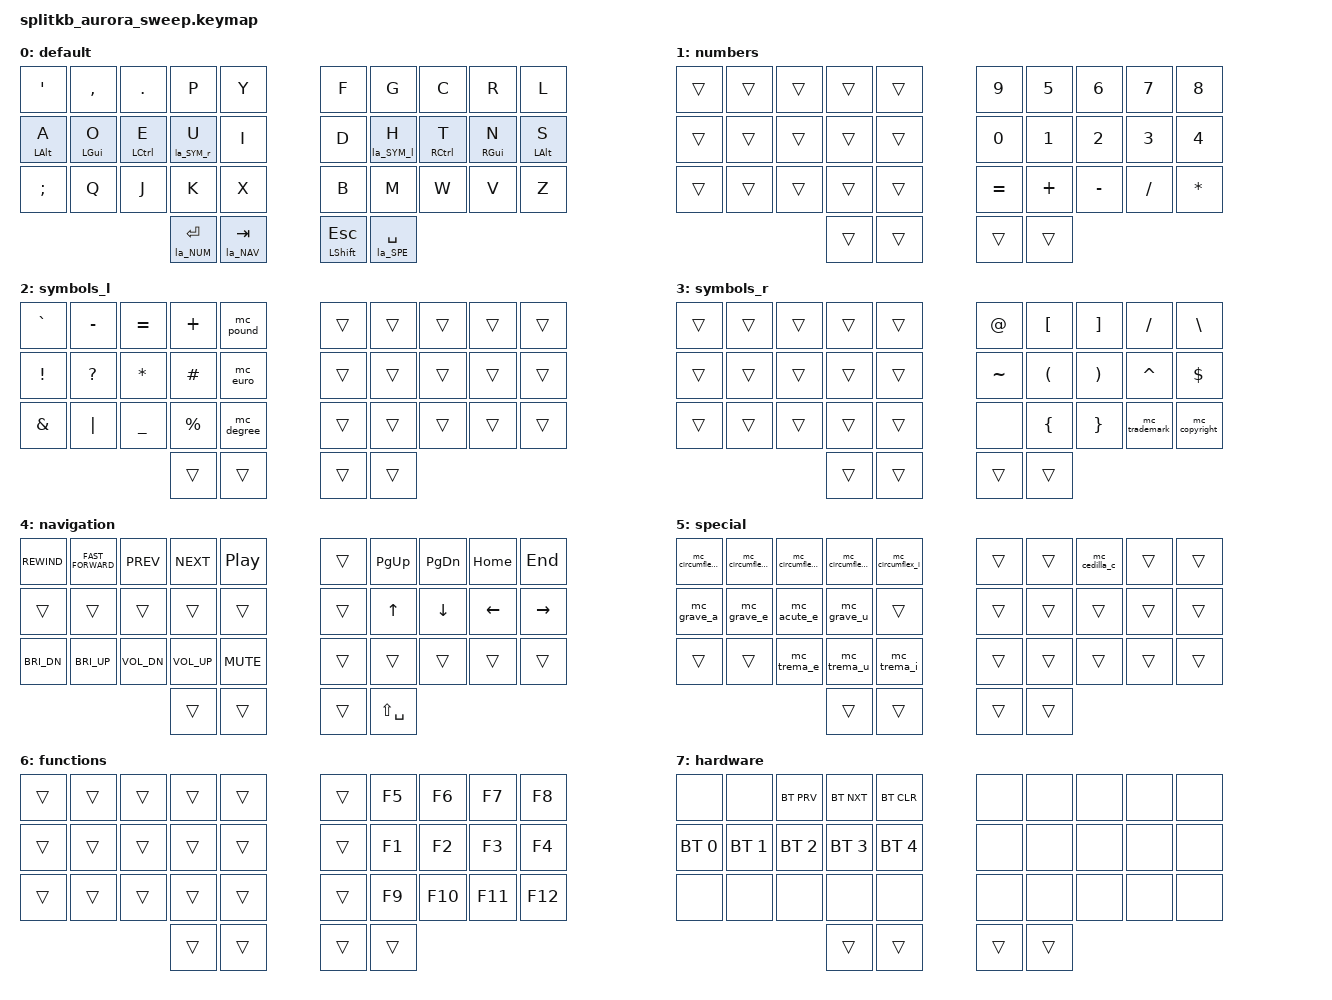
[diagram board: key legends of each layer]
#include <behaviors.dtsi>
#include <dt-bindings/zmk/keys.h>
#include <dt-bindings/zmk/bt.h>

#define la_DEF 0
#define la_NUM 1
#define la_SYM_l 2
#define la_SYM_r 3
#define la_NAV 4
#define la_SPE 5
#define la_FUN 6
#define la_HAR 7
// #define la_LMOD 4
// #define la_RMOD 5

#define po_T0 30
#define po_T1 31
#define po_T2 32
#define po_T3 33

#define po_LC 13
#define po_LS 12
#define po_LG 11
#define po_LA 10

#define po_RC 16
#define po_RS 17
#define po_RG 18
#define po_RA 19

#define po_RIGHT 5 6 7 8 9 15 16 17 18 19 25 26 27 28 29 30 31 32 33
#define po_LEFT 0 1 2 3 4 10 11 12 13 14 20 21 22 23 24 30 31 32 33

#define HM(NAME, HOLD, TAP, TRIGGER_POS) \
NAME: NAME { \
  label = #NAME; \
  compatible = "zmk,behavior-hold-tap"; \
  #binding-cells = <2>; \
  tapping-term-ms = <270>; \
  quick-tap-ms = <170>; \
  global-quick-tap; \
  flavor = "balanced"; \
  bindings = <HOLD>, <TAP>; \
  hold-trigger-key-positions = <TRIGGER_POS>; \
  hold-trigger-on-release; \
};

#define HMM(NAME, HOLD, TAP, TRIGGER_POS) \
NAME: NAME { \
  label = #NAME; \
  compatible = "zmk,behavior-hold-tap"; \
  #binding-cells = <2>; \
  tapping-term-ms = <270>; \
  quick-tap-ms = <170>; \
  global-quick-tap; \
  flavor = "balanced"; \
  bindings = <HOLD>, <TAP>; \
};

// hold-tap behavior that take two macros, one activated on hold, one activated on tap
#define HOLDTAP_MACRO(NAME, MACRO_HOLD, MACRO_TAP) \
NAME: NAME { \
  label = #NAME; \
  compatible = "zmk,behavior-hold-tap"; \
  #binding-cells = <2>; \
  flavor = "tap-preferred"; \
  tapping-term-ms = <200>; \
  bindings = <MACRO_HOLD>, <MACRO_TAP>; \
};

// macro behavior that take multiple keys which are activated when the macro is hold
#define MACRO_HOLD(NAME, BINDINGS) \
NAME: NAME { \
  label = #NAME; \
  compatible = "zmk,behavior-macro"; \
  #binding-cells = <0>; \
  wait-ms = <0>; \
  tap-ms = <0>; \
  bindings = <&macro_press BINDINGS>, <&macro_pause_for_release> , <&macro_release BINDINGS>; \
};

// macro behavior that take multiple keys which are activated when the macro is tap
#define MACRO_TAP(NAME, BINDINGS) \
NAME: NAME { \
  label = #NAME; \
  compatible = "zmk,behavior-macro"; \
  #binding-cells = <0>; \
  wait-ms = <0>; \
  tap-ms = <0>; \
  bindings = <BINDINGS>; \
};

// sticky key behavior that take a macro as bindings
#define SKQ_MACRO(NAME, MACRO) \
NAME: NAME { \
  compatible = "zmk,behavior-sticky-key"; \
  label = #NAME; \
  #binding-cells = <1>; \
  bindings = <MACRO>; \
  release-after-ms = <200>; \
  quick-release; \
  ignore-modifiers; \
};

// combo behavior that take a hold-tap as bindings
#define COMBO_HOLDTAP(NAME, TIMEOUT, POSITION, HOLDTAP) \
NAME { \
  layers = <la_DEF>; \
  timeout-ms = <TIMEOUT>; \
  slow-release; \
  key-positions = <POSITION>; \
  bindings = <&HOLDTAP 0 0>; \
};

#define COMBO(NAME, TIMEOUT, POSITION, BINDINGS) \
NAME { \
  layers = <la_DEF>; \
  timeout-ms = <TIMEOUT>; \
  slow-release; \
  key-positions = <POSITION>; \
  bindings = BINDINGS; \
};

#define TAPDANCE(NAME, TAP_1, TAP_2) \
NAME: NAME { \
  compatible = "zmk,behavior-tap-dance"; \
  label = #NAME; \
  #binding-cells = <0>; \
  tapping-term-ms = <200>; \
  bindings = <TAP_1>, <TAP_2>; \
};

#define TAPDANCE_3(NAME, TAP_1, TAP_2, TAP_3) \
NAME: NAME { \
  compatible = "zmk,behavior-tap-dance"; \
  label = #NAME; \
  #binding-cells = <0>; \
  tapping-term-ms = <200>; \
  bindings = <TAP_1>, <TAP_2>, <TAP_3>; \
};

// #define COMBO_MOD(MOD) \
// COMBO(cb_R##MOD##_SQT,   50, po_T2 po_R##MOD 0,  <&kp R##MOD(SQT)>)   \
// COMBO(cb_R##MOD##_COMMA, 50, po_T2 po_R##MOD 1,  <&kp R##MOD(COMMA)>) \
// COMBO(cb_R##MOD##_DOT,   50, po_T2 po_R##MOD 2,  <&kp R##MOD(DOT)>)   \
// COMBO(cb_R##MOD##_P,     50, po_T2 po_R##MOD 3,  <&kp R##MOD(P)>)     \
// COMBO(cb_R##MOD##_Y,     50, po_T2 po_R##MOD 4,  <&kp R##MOD(Y)>)     \
// \
// COMBO(cb_L##MOD##_F,     50, po_T1 po_L##MOD 5,  <&kp L##MOD(F)>)     \
// COMBO(cb_L##MOD##_G,     50, po_T1 po_L##MOD 6,  <&kp L##MOD(G)>)     \
// COMBO(cb_L##MOD##_C,     50, po_T1 po_L##MOD 7,  <&kp L##MOD(C)>)     \
// COMBO(cb_L##MOD##_R,     50, po_T1 po_L##MOD 8,  <&kp L##MOD(R)>)     \
// COMBO(cb_L##MOD##_L,     50, po_T1 po_L##MOD 9,  <&kp L##MOD(L)>)     \
// \
// COMBO(cb_R##MOD##_A,     50, po_T2 po_R##MOD 10, <&kp R##MOD(A)>)     \
// COMBO(cb_R##MOD##_O,     50, po_T2 po_R##MOD 11, <&kp R##MOD(O)>)     \
// COMBO(cb_R##MOD##_E,     50, po_T2 po_R##MOD 12, <&kp R##MOD(E)>)     \
// COMBO(cb_R##MOD##_U,     50, po_T2 po_R##MOD 13, <&kp R##MOD(U)>)     \
// COMBO(cb_R##MOD##_I,     50, po_T2 po_R##MOD 14, <&kp R##MOD(I)>)     \
// \
// COMBO(cb_L##MOD##_D,     50, po_T1 po_L##MOD 15, <&kp L##MOD(D)>)     \
// COMBO(cb_L##MOD##_H,     50, po_T1 po_L##MOD 16, <&kp L##MOD(H)>)     \
// COMBO(cb_L##MOD##_T,     50, po_T1 po_L##MOD 17, <&kp L##MOD(T)>)     \
// COMBO(cb_L##MOD##_N,     50, po_T1 po_L##MOD 18, <&kp L##MOD(N)>)     \
// COMBO(cb_L##MOD##_S,     50, po_T1 po_L##MOD 19, <&kp L##MOD(S)>)     \
// \
// COMBO(cb_R##MOD##_SEMI,  50, po_T2 po_R##MOD 20, <&kp R##MOD(SEMI)>)  \
// COMBO(cb_R##MOD##_Q,     50, po_T2 po_R##MOD 21, <&kp R##MOD(Q)>)     \
// COMBO(cb_R##MOD##_J,     50, po_T2 po_R##MOD 22, <&kp R##MOD(J)>)     \
// COMBO(cb_R##MOD##_K,     50, po_T2 po_R##MOD 23, <&kp R##MOD(K)>)     \
// COMBO(cb_R##MOD##_X,     50, po_T2 po_R##MOD 24, <&kp R##MOD(X)>)     \
// \
// COMBO(cb_L##MOD##_B,     50, po_T1 po_L##MOD 25, <&kp L##MOD(B)>)     \
// COMBO(cb_L##MOD##_M,     50, po_T1 po_L##MOD 26, <&kp L##MOD(M)>)     \
// COMBO(cb_L##MOD##_W,     50, po_T1 po_L##MOD 27, <&kp L##MOD(W)>)     \
// COMBO(cb_L##MOD##_V,     50, po_T1 po_L##MOD 28, <&kp L##MOD(V)>)     \
// COMBO(cb_L##MOD##_Z,     50, po_T1 po_L##MOD 29, <&kp L##MOD(Z)>)

/ {

  behaviors {
    HMM(hm_mod_l, &kp, &kp, po_RIGHT)
    HMM(hm_mod_r, &kp, &kp, po_LEFT)
    HM(hm_mo_r, &mo, &kp, po_LEFT)
    HM(hm_mo_l, &mo, &kp, po_RIGHT)

    ht_mo: hold_tap_momentary_layer {
      compatible = "zmk,behavior-hold-tap";
      label = "ht_mo";
      #binding-cells = <2>;
      flavor = "hold-preferred";
      tapping-term-ms = <200>;
      bindings = <&mo>, <&kp>;
    };

    ht_mod: hold_tap_modifier {
      compatible = "zmk,behavior-hold-tap";
      label = "ht_mod";
      #binding-cells = <2>;
      flavor = "hold-preferred";
      tapping-term-ms = <200>;
      bindings = <&kp>, <&kp>;
    };

    // &ht_mo_sk la_NAV RSFT
    ht_mo_sk: hold_tap_momentary_layer_sticky_modifier {
      compatible = "zmk,behavior-hold-tap";
      label = "ht_mo_sk";
      #binding-cells = <2>;
      flavor = "hold-preferred";
      tapping-term-ms = <200>;
      bindings = <&mo>, <&skq>;
    };

    // sticky key behavior with quick-release option that deactivate the sticky key on the next key being pressed
    skq: sk_quick_release {
      compatible = "zmk,behavior-sticky-key";
      label = "sk_quick_release";
      #binding-cells = <1>;
      bindings = <&kp>;
      release-after-ms = <200>;
      quick-release;
      /delete-property/ ignore-modifiers;
     };

    // sticky key behavior with ignore-modifiers option for use with multiple modifiers like LC(LSHFT)
    skqx: skq_multiple_modifiers {
      compatible = "zmk,behavior-sticky-key";
      label = "skq_multiple_modifiers";
      #binding-cells = <1>;
      bindings = <&kp>;
      release-after-ms = <200>;
      quick-release;
      ignore-modifiers;
     };

    // // SKQ_MACRO(NAME, MACRO)

    // SKQ_MACRO(skqm_tap_num_LC, &mc_hold_num_LC)
    // SKQ_MACRO(skqm_tap_num_LS, &mc_hold_num_LS)
    // SKQ_MACRO(skqm_tap_num_LG, &mc_hold_num_LG)
    // SKQ_MACRO(skqm_tap_num_LA, &mc_hold_num_LA)

    // // TAPDANCE(NAME, TAP_1, TAP_2)

    // TAPDANCE(td_special_a,   &mc_grave_a,      &mc_circumflex_a)
    // TAPDANCE(td_special_i,   &mc_circumflex_i, &mc_trema_i)
    // TAPDANCE(td_special_e,      &mc_circumflex_e, &mc_trema_e)
    // TAPDANCE_3(td_special_u, &mc_circumflex_u, &mc_trema_u)

    // // HOLDTAP_MACRO(NAME, MACRO_HOLD, MACRO_TAP)

    // HOLDTAP_MACRO(ht_LC,     &mc_hold_LC,     &mc_tap_LC)
    // HOLDTAP_MACRO(ht_LCS,    &mc_hold_LCS,    &mc_tap_LCS)
    // HOLDTAP_MACRO(ht_RC,     &mc_hold_RC,     &mc_tap_RC)
    // HOLDTAP_MACRO(ht_RCS,    &mc_hold_RCS,    &mc_tap_RCS)
    // HOLDTAP_MACRO(ht_LG,     &mc_hold_LG,     &mc_tap_LG)
    // HOLDTAP_MACRO(ht_LGS,    &mc_hold_LGS,    &mc_tap_LGS)
    // HOLDTAP_MACRO(ht_RG,     &mc_hold_RG,     &mc_tap_RG)
    // HOLDTAP_MACRO(ht_RGS,    &mc_hold_RGS,    &mc_tap_RGS)
    // HOLDTAP_MACRO(ht_LA,     &mc_hold_LA,     &mc_tap_LA)
    // HOLDTAP_MACRO(ht_LAS,    &mc_hold_LAS,    &mc_tap_LAS)
    // HOLDTAP_MACRO(ht_RA,     &mc_hold_RA,     &mc_tap_RA)
    // HOLDTAP_MACRO(ht_RAS,    &mc_hold_RAS,    &mc_tap_RAS)
    // HOLDTAP_MACRO(ht_LS,     &mc_hold_LS,     &mc_tap_LS)
    // HOLDTAP_MACRO(ht_RS,     &mc_hold_RS,     &mc_tap_RS)

    // HOLDTAP_MACRO(ht_num_LC, &mc_hold_num_LC, &mc_tap_num_LC)
    // HOLDTAP_MACRO(ht_num_LS, &mc_hold_num_LS, &mc_tap_num_LS)
    // HOLDTAP_MACRO(ht_num_LG, &mc_hold_num_LG, &mc_tap_num_LG)
    // HOLDTAP_MACRO(ht_num_LA, &mc_hold_num_LA, &mc_tap_num_LA)
  };

  macros {
    // // MACRO_HOLD(NAME, BINDINGS)

    // MACRO_HOLD(mc_hold_LC,     &mo la_LMOD &kp LCTRL)
    // MACRO_HOLD(mc_hold_LCS,    &mo la_LMOD &kp LC(LSHFT))
    // MACRO_HOLD(mc_hold_RC,     &mo la_RMOD &kp RCTRL)
    // MACRO_HOLD(mc_hold_RCS,    &mo la_RMOD &kp RC(RSHFT))
    // MACRO_HOLD(mc_hold_LG,     &mo la_LMOD &kp LGUI)
    // MACRO_HOLD(mc_hold_LGS,    &mo la_LMOD &kp LG(LSHFT))
    // MACRO_HOLD(mc_hold_RG,     &mo la_RMOD &kp RGUI)
    // MACRO_HOLD(mc_hold_RGS,    &mo la_RMOD &kp RG(RSHFT))
    // MACRO_HOLD(mc_hold_LA,     &mo la_LMOD &kp LALT)
    // MACRO_HOLD(mc_hold_LAS,    &mo la_LMOD &kp LA(LSHFT))
    // MACRO_HOLD(mc_hold_RA,     &mo la_RMOD &kp LALT)
    // MACRO_HOLD(mc_hold_RAS,    &mo la_RMOD &kp LA(RSHFT))
    // MACRO_HOLD(mc_hold_LS,     &mo la_LMOD &kp LSHFT)
    // MACRO_HOLD(mc_hold_RS,     &mo la_RMOD &kp RSHFT)

    // MACRO_HOLD(mc_hold_num_LC, &mo la_NUM  &kp LCTRL)
    // MACRO_HOLD(mc_hold_num_LS, &mo la_NUM  &kp LSHFT)
    // MACRO_HOLD(mc_hold_num_LG, &mo la_NUM  &kp LGUI)
    // MACRO_HOLD(mc_hold_num_LA, &mo la_NUM  &kp LALT)

    // // MACRO_TAP(NAME, BINDINGS)

    // MACRO_TAP(mc_tap_LC,  &skq  LCTRL)
    // MACRO_TAP(mc_tap_LCS, &skqx LC(LSHFT))
    // MACRO_TAP(mc_tap_RC,  &skq  RCTRL)
    // MACRO_TAP(mc_tap_RCS, &skqx RC(RSHFT))
    // MACRO_TAP(mc_tap_LG,  &skq  LGUI)
    // MACRO_TAP(mc_tap_LGS, &skqx LG(LSHFT))
    // MACRO_TAP(mc_tap_RG,  &skq  RGUI)
    // MACRO_TAP(mc_tap_RGS, &skqx RG(RSHFT))
    // MACRO_TAP(mc_tap_LA,  &skq  LALT)
    // MACRO_TAP(mc_tap_LAS, &skqx LA(LSHFT))
    // MACRO_TAP(mc_tap_RA,  &skq  LALT)
    // MACRO_TAP(mc_tap_RAS, &skqx LA(RSHFT))
    // MACRO_TAP(mc_tap_LS,  &skq  LSHFT)
    // MACRO_TAP(mc_tap_RS,  &skq  RSHFT)

    // // can't use two sticky keys like sk and sl in a macro because they are indexed by key position
    // // https://github.com/zmkfirmware/zmk/issues/1421
    // // the workaround is to create a custom sticky key behavior with a hold macro as binding
    // MACRO_TAP(mc_tap_num_LC, &skqm_tap_num_LC 0)
    // MACRO_TAP(mc_tap_num_LS, &skqm_tap_num_LS 0)
    // MACRO_TAP(mc_tap_num_LG, &skqm_tap_num_LG 0)
    // MACRO_TAP(mc_tap_num_LA, &skqm_tap_num_LA 0)

    MACRO_TAP(mc_grave_a,      &kp RA(GRAVE)    &kp A)
    MACRO_TAP(mc_grave_e,      &kp RA(GRAVE)    &kp E)
    MACRO_TAP(mc_grave_u,      &kp RA(GRAVE)    &kp U)
    MACRO_TAP(mc_circumflex_a, &kp RA(NUMBER_6) &kp A)
    MACRO_TAP(mc_circumflex_o, &kp RA(NUMBER_6) &kp O)
    MACRO_TAP(mc_circumflex_e, &kp RA(NUMBER_6) &kp E)
    MACRO_TAP(mc_circumflex_u, &kp RA(NUMBER_6) &kp U)
    MACRO_TAP(mc_circumflex_i, &kp RA(NUMBER_6) &kp I)
    MACRO_TAP(mc_trema_e,      &kp RA(RS(SQT))  &kp E)
    MACRO_TAP(mc_trema_u,      &kp RA(RS(SQT))  &kp U)
    MACRO_TAP(mc_trema_i,      &kp RA(RS(SQT))  &kp I)
    MACRO_TAP(mc_acute_e,      &kp RA(E))
    MACRO_TAP(mc_cedilla_c,    &kp RA(COMMA))
    MACRO_TAP(mc_euro,         &kp RA(NUMBER_5))
    MACRO_TAP(mc_pound,        &kp RA(RS(NUMBER_4)))
    MACRO_TAP(mc_degree,       &kp RA(RS(NUMBER_0)))
    MACRO_TAP(mc_trademark,    &kp RA(V))
    MACRO_TAP(mc_copyright,    &kp RA(C))
  };

  combos {
    compatible = "zmk,combos";

    cb_bspc { layers = <la_DEF la_NAV>; timeout-ms = <30>; key-positions = <11 12>; bindings = <&kp BSPC>; require-prior-idle-ms = <150>; };
    // cb_esc { layers = <la_DEF la_NAV>; timeout-ms = <30>; key-positions = <12 13>; bindings = <&kp ESC>; require-prior-idle-ms = <150>; };
    cb_rep_r { layers = <la_DEF la_NAV>; timeout-ms = <30>; key-positions = <16 17>; bindings = <&key_repeat>; require-prior-idle-ms = <150>; };
    cb_rep_l { layers = <la_DEF la_NAV>; timeout-ms = <30>; key-positions = <12 13>; bindings = <&key_repeat>; require-prior-idle-ms = <150>; };
    cb_del { layers = <la_DEF la_NAV>; timeout-ms = <30>; key-positions = <17 18>; bindings = <&kp DEL>; require-prior-idle-ms = <150>; };
    cb_caps { layers = <la_DEF>; timeout-ms = <40>; key-positions = <26 27>; bindings = <&caps_word>; };
    // cb_repeat_l { layers = <la_DEF>; timeout-ms = <30>; key-positions = <21 22>; bindings = <&key_repeat>; };
    // cb_repeat_r { layers = <la_DEF>; timeout-ms = <30>; key-positions = <27 28>; bindings = <&key_repeat>; };
    // cb_esc { layers = <la_DEF>; timeout-ms = <30>; key-positions = <21 22>; bindings = <&kp ESC>; };
    // cb_esc { layers = <la_DEF>; timeout-ms = <30>; key-positions = <11 12>; bindings = <&hm_mod_l LS(LGUI) ESC>; };
    // cb_repeat { layers = <la_DEF>; timeout-ms = <30>; key-positions = <2 3>; bindings = <&key_repeat>; };
    // cb_enter_l { layers = <la_DEF la_NAV>; timeout-ms = <70>; key-positions = <11 12 13>; bindings = <&kp ENTER>; };
    // cb_enter_r { layers = <la_DEF>; timeout-ms = <70>; key-positions = <16 17 18>; bindings = <&kp ENTER>; };
    // cb_del_l { layers = <la_DEF la_NAV>; timeout-ms = <70>; key-positions = <21 22 23>; bindings = <&kp DEL>; };
    // cb_del_r { layers = <la_DEF la_NAV>; timeout-ms = <70>; key-positions = <26 27 28>; bindings = <&kp DEL>; };
    // cb_boot_l { layers = <la_DEF>; timeout-ms = <30>; key-positions = <po_T1 24>; bindings = <&bootloader>; };
    // cb_boot_r { layers = <la_DEF>; timeout-ms = <30>; key-positions = <po_T2 25>; bindings = <&bootloader>; };

    // // french special characters
    // cb_special_a { layers = <la_DEF>; timeout-ms = <100>; key-positions = <11 1>; bindings = <&td_special_a>; };
    // cb_acute_e { layers = <la_DEF>; timeout-ms = <100>; key-positions = <12 2>; bindings = <&mc_acute_e>; };
    // cb_grave_e { layers = <la_DEF>; timeout-ms = <100>; key-positions = <13 3>; bindings = <&mc_grave_e>; };
    // cb_circumflex_o { layers = <la_DEF>; timeout-ms = <100>; key-positions = <21 11>; bindings = <&mc_circumflex_o>; };
    // cb_special_e { layers = <la_DEF>; timeout-ms = <100>; key-positions = <22 12>; bindings = <&td_special_e>; };
    // cb_special_u { layers = <la_DEF>; timeout-ms = <100>; key-positions = <23 13>; bindings = <&td_special_u>; };
    // cb_special_i { layers = <la_DEF>; timeout-ms = <100>; key-positions = <24 14>; bindings = <&td_special_i>; };
    // cb_cedilla_c { layers = <la_DEF>; timeout-ms = <100>; key-positions = <17 7>; bindings = <&mc_cedilla_c>; };

    // // la_DEF STICKY MODIFIERS
    // // COMBO_HOLDTAP(NAME, TIMEOUT, POSITION, HOLDTAP)
    // COMBO_HOLDTAP(cb_LC,  30, po_T1 po_LC, ht_LC)
    // COMBO_HOLDTAP(cb_LCS, 30, po_T1 po_LC  po_LS, ht_LCS)
    // COMBO_HOLDTAP(cb_RC,  30, po_T2 po_RC, ht_RC)
    // COMBO_HOLDTAP(cb_RCS, 30, po_T2 po_RC  po_RS, ht_RCS)
    // COMBO_HOLDTAP(cb_LG,  30, po_T1 po_LG, ht_LG)
    // COMBO_HOLDTAP(cb_LGS, 30, po_T1 po_LG  po_LS, ht_LGS)
    // COMBO_HOLDTAP(cb_RG,  30, po_T2 po_RG, ht_RG)
    // COMBO_HOLDTAP(cb_RGS, 30, po_T2 po_RG  po_RS, ht_RGS)
    // COMBO_HOLDTAP(cb_LA,  30, po_T1 po_LA, ht_LA)
    // COMBO_HOLDTAP(cb_LAS, 30, po_T1 po_LA  po_LS, ht_LAS)
    // COMBO_HOLDTAP(cb_RA,  30, po_T2 po_RA, ht_RA)
    // COMBO_HOLDTAP(cb_RAS, 30, po_T2 po_RA  po_RS, ht_RAS)
    // COMBO_HOLDTAP(cb_LS,  30, po_T1 po_LS, ht_LS)
    // COMBO_HOLDTAP(cb_RS,  30, po_T2 po_RS, ht_RS)

    // COMBO_MOD(C)
    // COMBO_MOD(S)
    // COMBO_MOD(G)
    // COMBO_MOD(A)

    // // la_NUM CTRL
    // COMBO(cb_LC_0, 50, po_T0 po_LC 15, <&kp LC(NUMBER_0)>)
    // COMBO(cb_LC_1, 50, po_T0 po_LC 16, <&kp LC(NUMBER_1)>)
    // COMBO(cb_LC_2, 50, po_T0 po_LC 17, <&kp LC(NUMBER_2)>)
    // COMBO(cb_LC_3, 50, po_T0 po_LC 18, <&kp LC(NUMBER_3)>)
    // COMBO(cb_LC_4, 50, po_T0 po_LC 19, <&kp LC(NUMBER_4)>)
    // COMBO(cb_LC_5, 50, po_T0 po_LC 5,  <&kp LC(NUMBER_5)>)
    // COMBO(cb_LC_6, 50, po_T0 po_LC 6,  <&kp LC(NUMBER_6)>)
    // COMBO(cb_LC_7, 50, po_T0 po_LC 7,  <&kp LC(NUMBER_7)>)
    // COMBO(cb_LC_8, 50, po_T0 po_LC 8,  <&kp LC(NUMBER_8)>)
    // COMBO(cb_LC_9, 50, po_T0 po_LC 9,  <&kp LC(NUMBER_9)>)

    // // la_NUM GUI
    // COMBO(cb_LG_0, 50, po_T0 po_LG 15, <&kp LG(NUMBER_0)>)
    // COMBO(cb_LG_1, 50, po_T0 po_LG 16, <&kp LG(NUMBER_1)>)
    // COMBO(cb_LG_2, 50, po_T0 po_LG 17, <&kp LG(NUMBER_2)>)
    // COMBO(cb_LG_3, 50, po_T0 po_LG 18, <&kp LG(NUMBER_3)>)
    // COMBO(cb_LG_4, 50, po_T0 po_LG 19, <&kp LG(NUMBER_4)>)
    // COMBO(cb_LG_5, 50, po_T0 po_LG 5,  <&kp LG(NUMBER_5)>)
    // COMBO(cb_LG_6, 50, po_T0 po_LG 6,  <&kp LG(NUMBER_6)>)
    // COMBO(cb_LG_7, 50, po_T0 po_LG 7,  <&kp LG(NUMBER_7)>)
    // COMBO(cb_LG_8, 50, po_T0 po_LG 8,  <&kp LG(NUMBER_8)>)
    // COMBO(cb_LG_9, 50, po_T0 po_LG 9,  <&kp LG(NUMBER_9)>)

    // // la_NUM STICKY MODIFIERS
    // // COMBO_HOLDTAP(NAME, TIME, POS, HT)
    // COMBO_HOLDTAP(cb_num_LC, 30, po_T0 po_LC, ht_num_LC)
    // COMBO_HOLDTAP(cb_num_LS, 30, po_T0 po_LS, ht_num_LS)
    // COMBO_HOLDTAP(cb_num_LG, 30, po_T0 po_LG, ht_num_LG)
    // COMBO_HOLDTAP(cb_num_LA, 30, po_T0 po_LA, ht_num_LA)
  };

  // conditional_layers {
  //   compatible = "zmk,conditional-layers";
  //   tri_layer {
  //     if-layers = <la_SYM la_NAV>;
  //     then-layer = <6>;
  //   };
  // };

  keymap {
    compatible = "zmk,keymap";

    default {
      bindings = <
      &kp SQT &kp COMMA &kp DOT &kp P &kp Y                                           &kp F &kp G &kp C &kp R &kp L
      &hm_mod_l LALT A &hm_mod_l LGUI O &hm_mod_l LCTL E &hm_mo_l la_SYM_r U &kp I    &kp D &hm_mo_r la_SYM_l H &hm_mod_r RCTL T &hm_mod_r RGUI N &hm_mod_r LALT S
      &kp SEMI &kp Q &kp J &kp K &kp X                                                &kp B &kp M &kp W &kp V &kp Z
      &hm_mo_l la_NUM ENTER &ht_mo la_NAV TAB &ht_mod LSHFT ESC &hm_mo_r la_SPE SPACE
      >;
    };

    numbers {
      bindings = <
        &trans &trans &trans &trans &trans                  &kp NUMBER_9 &kp NUMBER_5 &kp NUMBER_6 &kp NUMBER_7 &kp NUMBER_8
        &trans &trans &trans &trans &trans                  &kp NUMBER_0 &kp NUMBER_1 &kp NUMBER_2 &kp NUMBER_3 &kp NUMBER_4
        &trans &trans &trans &trans &trans                  &kp EQUAL &kp PLUS &kp MINUS &kp SLASH &kp STAR
        &trans &trans &trans &trans
        >;
    };

    symbols_l {
      bindings = <
        &kp GRAVE &kp MINUS &kp EQUAL &kp PLUS &mc_pound    &trans &trans &trans &trans &trans
        &kp EXCL &kp QUESTION &kp STAR &kp HASH &mc_euro    &trans &trans &trans &trans &trans
        &kp AMPS &kp PIPE &kp UNDER &kp PRCNT &mc_degree    &trans &trans &trans &trans &trans
        &trans &trans &trans &trans
        >;
    };

    symbols_r {
      bindings = <
        &trans &trans &trans &trans &trans                  &kp AT &kp LBKT &kp RBKT &kp SLASH &kp BSLH
        &trans &trans &trans &trans &trans                  &kp TILDE &kp LPAR &kp RPAR &kp CARET &kp DLLR
        &trans &trans &trans &trans &trans                  &none &kp LBRC &kp RBRC &mc_trademark &mc_copyright
        &trans &trans &trans &trans
        >;
    };

    // navigation {
    //   bindings = <
    //     &kp HOME &kp END &kp PG_DN &kp PG_UP &trans      &kp C_PLAY_PAUSE &kp C_PREV &kp C_NEXT &kp C_REWIND &kp C_FAST_FORWARD
    //     &kp LEFT &kp RIGHT &kp DOWN &kp UP &trans        &trans &trans &trans &trans &trans
    //     &trans &trans &trans &trans &trans               &kp C_MUTE &kp C_VOL_UP &kp C_VOL_DN &kp C_BRI_UP &kp C_BRI_DN
    //     &trans &trans &trans &trans
    //     >;
    // };

    navigation {
      bindings = <
        &kp C_REWIND &kp C_FAST_FORWARD &kp C_PREV &kp C_NEXT &kp C_PLAY_PAUSE &trans &kp PG_UP &kp PG_DN &kp HOME &kp END
        &trans &trans &trans &trans &trans                                     &trans &kp UP &kp DOWN &kp LEFT &kp RIGHT
        &kp C_BRI_DN &kp C_BRI_UP &kp C_VOL_DN &kp C_VOL_UP &kp C_MUTE         &trans &trans &trans &trans &trans
        &trans &trans &trans &kp LS(SPACE)
        >;
    };

    special {
      bindings = <
        &mc_circumflex_a &mc_circumflex_o &mc_circumflex_e &mc_circumflex_u &mc_circumflex_i   &trans &trans &mc_cedilla_c &trans &trans
        &mc_grave_a &mc_grave_e &mc_acute_e &mc_grave_u &trans                                 &trans &trans &trans &trans &trans
        &trans &trans &mc_trema_e &mc_trema_u &mc_trema_i                                      &trans &trans &trans &trans &trans
        &trans &trans &trans &trans
        >;
    };

    functions {
      bindings = <
        &trans &trans &trans &trans &trans     &trans &kp F5 &kp F6 &kp F7 &kp F8
        &trans &trans &trans &trans &trans     &trans &kp F1 &kp F2 &kp F3 &kp F4
        &trans &trans &trans &trans &trans     &trans &kp F9 &kp F10 &kp F11 &kp F12
        &trans &trans &trans &trans
        >;
    };

    hardware {
      bindings = <
        &none &none &bt BT_PRV &bt BT_NXT &bt BT_CLR                         &none &none &none &none &none
        &bt BT_SEL 0 &bt BT_SEL 1 &bt BT_SEL 2 &bt BT_SEL 3 &bt BT_SEL 4     &none &none &none &none &none
        &none &none &none &none &none                                        &none &none &none &none &none
        &trans &trans &trans &trans
        >;
    };

    // mods_left {
    //   bindings = <
    //     &none &none &none &none &none                    &trans &trans &trans &trans &trans
    //     &kp LALT &kp LGUI &kp LSHFT &kp LCTRL &none      &trans &trans &trans &trans &trans
    //     &none &none &none &none &none                    &trans &trans &trans &trans &trans
    //     &trans &trans &trans &trans
    //     >;
    // };

    // mods_right {
    //   bindings = <
    //     &trans &trans &trans &trans &trans               &none &none &none &none &none
    //     &trans &trans &trans &trans &trans               &none &kp RCTRL &kp RSHFT &kp RGUI &kp LALT
    //     &trans &trans &trans &trans &trans               &none &none &none &none &none
    //     &trans &trans &trans &trans
    //     >;
    // };

    // tri {
    //   bindings = <
    //     &bt BT_SEL 0 &bt BT_SEL 1 &bt BT_SEL 2 &bt BT_SEL 3 &bt BT_SEL 4     &none &kp F5 &kp F6 &kp F7 &kp F8
    //     &kp LALT &kp LGUI &kp LSHFT &kp LCTRL &bt BT_CLR                     &none &kp F1 &kp F2 &kp F3 &kp F4
    //     &none &none &none &none &none                                        &none &kp F9 &kp F10 &kp F11 &kp F12
    //     &trans &trans &trans &trans
    //     >;
    // };
  };
};
